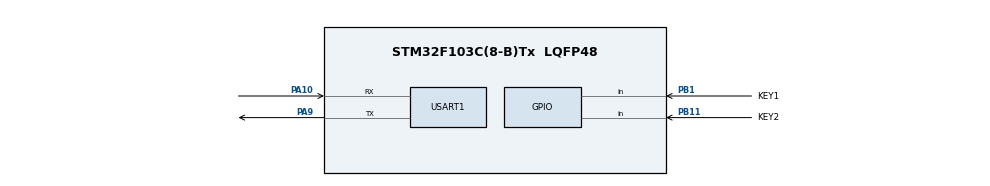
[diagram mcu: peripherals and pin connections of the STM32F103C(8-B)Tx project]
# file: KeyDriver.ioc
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Mcu.Family=STM32F1
Mcu.Name=STM32F103C(8-B)Tx
Mcu.Package=LQFP48
NVIC.PriorityGroup=NVIC_PRIORITYGROUP_4
PA10.Mode=Asynchronous
PA10.Signal=USART1_RX
PA13.Mode=Serial_Wire
PA13.Signal=SYS_JTMS-SWDIO
PA14.Mode=Serial_Wire
PA14.Signal=SYS_JTCK-SWCLK
PA9.Mode=Asynchronous
PA9.Signal=USART1_TX
PB1.GPIO_Label=KEY1
PB1.GPIO_PuPd=GPIO_PULLUP
PB1.Signal=GPIO_Input
PB11.GPIO_Label=KEY2
PB11.GPIO_PuPd=GPIO_PULLUP
PB11.Signal=GPIO_Input
ProjectManager.HeapSize=0x200
ProjectManager.StackSize=0x400
ProjectManager.TargetToolchain=STM32CubeIDE
RCC.APB1Freq_Value=8000000
RCC.APB2Freq_Value=8000000
USART1.VirtualMode=VM_ASYNC
board=custom

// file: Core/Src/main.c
/* USER CODE BEGIN Header */
/**
  ******************************************************************************
  * @file           : main.c
  * @brief          : Main program body
  ******************************************************************************
  * @attention
  *
  * Copyright (c) 2026 STMicroelectronics.
  * All rights reserved.
  *
  * This software is licensed under terms that can be found in the LICENSE file
  * in the root directory of this software component.
  * If no LICENSE file comes with this software, it is provided AS-IS.
  *
  ******************************************************************************
  */
/* USER CODE END Header */
#include "main.h"

/* USER CODE BEGIN Includes */
#include "Key.h"
#include <string.h>
/* USER CODE END Includes */

UART_HandleTypeDef huart1;

void SystemClock_Config(void);
static void MX_GPIO_Init(void);
static void MX_USART1_UART_Init(void);

int main(void)
{

  /* MCU Configuration--------------------------------------------------------*/

  /* Reset of all peripherals, Initializes the Flash interface and the Systick. */
  HAL_Init();

  /* Configure the system clock */
  SystemClock_Config();

  /* Initialize all configured peripherals */
  MX_GPIO_Init();
  MX_USART1_UART_Init();
  /* USER CODE BEGIN 2 */
  Key_Init();
  /* USER CODE END 2 */

  /* Infinite loop */
  while (1)
  {

    /* USER CODE BEGIN 3 */

    /* KEY1 单击 */
    if (Key_CheckEvent(KEY1, Event_Click))
    {
      HAL_UART_Transmit(&huart1, (uint8_t *)"[KEY1] Click\r\n", 15, 100);
    }

    /* KEY1 双击 */
    if (Key_CheckEvent(KEY1, Event_DoubleClick))
    {
      HAL_UART_Transmit(&huart1, (uint8_t *)"[KEY1] Double Click\r\n", 21, 100);
    }

    /* KEY1 长按 */
    if (Key_CheckEvent(KEY1, Event_LongPress))
    {
      HAL_UART_Transmit(&huart1, (uint8_t *)"[KEY1] Long Press\r\n", 19, 100);
    }

    /* KEY1 长按连发 */
    if (Key_CheckEvent(KEY1, Event_Repeat))
    {
      HAL_UART_Transmit(&huart1, (uint8_t *)"[KEY1] Repeat\r\n", 15, 100);
    }

    /* KEY2 单击 */
    if (Key_CheckEvent(KEY2, Event_Click))
    {
      HAL_UART_Transmit(&huart1, (uint8_t *)"[KEY2] Click\r\n", 15, 100);
    }

    /* KEY2 双击 */
    if (Key_CheckEvent(KEY2, Event_DoubleClick))
    {
      HAL_UART_Transmit(&huart1, (uint8_t *)"[KEY2] Double Click\r\n", 21, 100);
    }

    /* KEY2 长按 */
    if (Key_CheckEvent(KEY2, Event_LongPress))
    {
      HAL_UART_Transmit(&huart1, (uint8_t *)"[KEY2] Long Press\r\n", 19, 100);
    }

    /* KEY2 长按连发 */
    if (Key_CheckEvent(KEY2, Event_Repeat))
    {
      HAL_UART_Transmit(&huart1, (uint8_t *)"[KEY2] Repeat\r\n", 15, 100);
    }

  }
  /* USER CODE END 3 */
}

void SystemClock_Config(void)
{
  RCC_OscInitTypeDef RCC_OscInitStruct = {0};
  RCC_ClkInitTypeDef RCC_ClkInitStruct = {0};

  /** Initializes the RCC Oscillators according to the specified parameters
  * in the RCC_OscInitTypeDef structure.
  */
  RCC_OscInitStruct.OscillatorType = RCC_OSCILLATORTYPE_HSI;
  RCC_OscInitStruct.HSIState = RCC_HSI_ON;
  RCC_OscInitStruct.HSICalibrationValue = RCC_HSICALIBRATION_DEFAULT;
  RCC_OscInitStruct.PLL.PLLState = RCC_PLL_NONE;
  if (HAL_RCC_OscConfig(&RCC_OscInitStruct) != HAL_OK)
  {
    Error_Handler();
  }

  /** Initializes the CPU, AHB and APB buses clocks
  */
  RCC_ClkInitStruct.ClockType = RCC_CLOCKTYPE_HCLK|RCC_CLOCKTYPE_SYSCLK
                              |RCC_CLOCKTYPE_PCLK1|RCC_CLOCKTYPE_PCLK2;
  RCC_ClkInitStruct.SYSCLKSource = RCC_SYSCLKSOURCE_HSI;
  RCC_ClkInitStruct.AHBCLKDivider = RCC_SYSCLK_DIV1;
  RCC_ClkInitStruct.APB1CLKDivider = RCC_HCLK_DIV1;
  RCC_ClkInitStruct.APB2CLKDivider = RCC_HCLK_DIV1;

  if (HAL_RCC_ClockConfig(&RCC_ClkInitStruct, FLASH_LATENCY_0) != HAL_OK)
  {
    Error_Handler();
  }
}

static void MX_USART1_UART_Init(void)
{

  huart1.Instance = USART1;
  huart1.Init.BaudRate = 115200;
  huart1.Init.WordLength = UART_WORDLENGTH_8B;
  huart1.Init.StopBits = UART_STOPBITS_1;
  huart1.Init.Parity = UART_PARITY_NONE;
  huart1.Init.Mode = UART_MODE_TX_RX;
  huart1.Init.HwFlowCtl = UART_HWCONTROL_NONE;
  huart1.Init.OverSampling = UART_OVERSAMPLING_16;
  if (HAL_UART_Init(&huart1) != HAL_OK)
  {
    Error_Handler();
  }

}

static void MX_GPIO_Init(void)
{
  GPIO_InitTypeDef GPIO_InitStruct = {0};

  /* GPIO Ports Clock Enable */
  __HAL_RCC_GPIOB_CLK_ENABLE();
  __HAL_RCC_GPIOA_CLK_ENABLE();

  /*Configure GPIO pins : KEY1_Pin KEY2_Pin */
  GPIO_InitStruct.Pin = KEY1_Pin|KEY2_Pin;
  GPIO_InitStruct.Mode = GPIO_MODE_INPUT;
  GPIO_InitStruct.Pull = GPIO_PULLUP;
  HAL_GPIO_Init(GPIOB, &GPIO_InitStruct);

}

void Error_Handler(void)
{
  __disable_irq();
  while (1)
  {
  }
}
